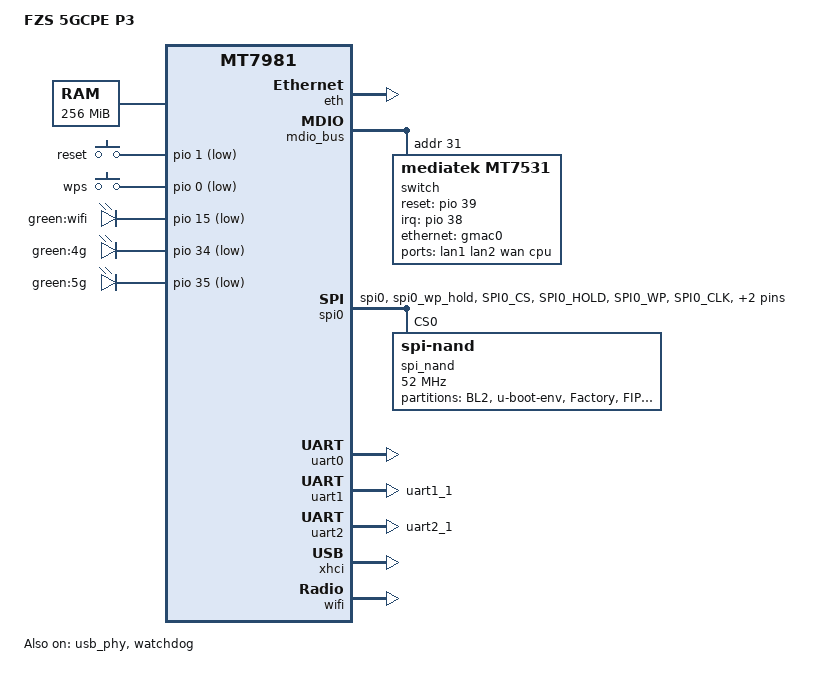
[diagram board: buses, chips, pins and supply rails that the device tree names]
// SPDX-License-Identifier: GPL-2.0-or-later OR MIT

/dts-v1/;
#include <dt-bindings/gpio/gpio.h>
#include <dt-bindings/input/input.h>

#include "mt7981.dtsi"

/ {
	model = "FZS 5GCPE P3";
	compatible = "fzs,5gcpe-p3", "mediatek,mt7981";

	aliases {
		serial0 = &uart0;
		led-boot = &led_wifi;
		led-upgrade = &led_wifi;
	};

	chosen {
		stdout-path = "serial0:115200n8";
	};

	memory {
		reg = <0 0x40000000 0 0x10000000>;
	};

	gpio-keys {
		compatible = "gpio-keys";

		reset {
			label = "reset";
			linux,code = <KEY_RESTART>;
			gpios = <&pio 1 GPIO_ACTIVE_LOW>;
		};

		wps {
			label = "wps";
			linux,code = <KEY_WPS_BUTTON>;
			gpios = <&pio 0 GPIO_ACTIVE_LOW>;
		};
	};

	leds {
		compatible = "gpio-leds";

		led_wifi: wifi {
			label = "green:wifi";
			gpios = <&pio 15 GPIO_ACTIVE_LOW>;
			linux,default-trigger = "phy1tpt";
		};

		4g {
			label = "green:4g";
			gpios = <&pio 34 GPIO_ACTIVE_LOW>;
		};

		5g {
			label = "green:5g";
			gpios = <&pio 35 GPIO_ACTIVE_LOW>;
		};
	};
};

&eth {
	status = "okay";

	gmac0: mac@0 {
		compatible = "mediatek,eth-mac";
		reg = <0>;
		phy-mode = "2500base-x";

		nvmem-cells = <&macaddr_factory_2a>;
		nvmem-cell-names = "mac-address";

		fixed-link {
			speed = <2500>;
			full-duplex;
			pause;
		};
	};
};

&mdio_bus {
	switch: switch@0 {
		compatible = "mediatek,mt7531";
		reg = <31>;
		reset-gpios = <&pio 39 GPIO_ACTIVE_HIGH>;
		interrupt-controller;
		#interrupt-cells = <1>;
		interrupt-parent = <&pio>;
		interrupts = <38 IRQ_TYPE_LEVEL_HIGH>;
	};
};

&spi0 {
	pinctrl-names = "default";
	pinctrl-0 = <&spi0_flash_pins>;
	status = "okay";

	spi_nand@0 {
		compatible = "spi-nand";
		#address-cells = <1>;
		#size-cells = <1>;
		reg = <0>;

		spi-max-frequency = <52000000>;
		spi-tx-bus-width = <4>;
		spi-rx-bus-width = <4>;

		mediatek,nmbm;
		mediatek,bmt-max-ratio = <1>;
		mediatek,bmt-max-reserved-blocks = <64>;

		partitions {
			compatible = "fixed-partitions";
			#address-cells = <1>;
			#size-cells = <1>;

			partition@0 {
				label = "BL2";
				reg = <0x000000 0x0100000>;
				read-only;
			};

			partition@100000 {
				label = "u-boot-env";
				reg = <0x100000 0x0080000>;
			};

			factory: partition@180000 {
				label = "Factory";
				reg = <0x180000 0x0200000>;
				read-only;
			};

			partition@380000 {
				label = "FIP";
				reg = <0x380000 0x0200000>;
				read-only;
			};

			partition@580000 {
				label = "ubi";
				reg = <0x580000 0x7000000>;
			};
		};
	};
};

&switch {
	ports {
		#address-cells = <1>;
		#size-cells = <0>;

		port@1 {
			reg = <1>;
			label = "lan1";
		};

		port@2 {
			reg = <2>;
			label = "lan2";
		};

		port@3 {
			reg = <3>;
			label = "wan";
			nvmem-cells = <&macaddr_factory_24>;
			nvmem-cell-names = "mac-address";
		};

		port@6 {
			reg = <6>;
			label = "cpu";
			ethernet = <&gmac0>;
			phy-mode = "2500base-x";

			fixed-link {
				speed = <2500>;
				full-duplex;
				pause;
			};
		};
	};
};

&pio {
	spi0_flash_pins: spi0-pins {
		mux {
			function = "spi";
			groups = "spi0", "spi0_wp_hold";
		};

		conf-pu {
			pins = "SPI0_CS", "SPI0_HOLD", "SPI0_WP";
			drive-strength = <8>;
			mediatek,pull-up-adv = <0>; /* bias-disable */
		};

		conf-pd {
			pins = "SPI0_CLK", "SPI0_MOSI", "SPI0_MISO";
			drive-strength = <8>;
			mediatek,pull-up-adv = <0>; /* bias-disable */
		};
	};

	uart1_pins: uart1-pins {
		mux {
			function = "uart";
			groups = "uart1_1";
		};
	};

	uart2_pins: uart2-pins {
		mux {
			function = "uart";
			groups = "uart2_1";
		};
	};
};

&uart0 {
	status = "okay";
};

&uart1 {
	pinctrl-names = "default";
	pinctrl-0 = <&uart1_pins>;
	status = "okay";
};

&uart2 {
	pinctrl-names = "default";
	pinctrl-0 = <&uart2_pins>;
	status = "okay";
};

&usb_phy {
	status = "okay";
};

&xhci {
	status = "okay";
};

&watchdog {
	status = "okay";
};

&wifi {
	status = "okay";

	mediatek,mtd-eeprom = <&factory 0x0>;
};

&factory {
	compatible = "nvmem-cells";
	#address-cells = <1>;
	#size-cells = <1>;

	macaddr_factory_24: macaddr@24 {
		reg = <0x24 0x6>;
	};

	macaddr_factory_2a: macaddr@2a {
		reg = <0x2a 0x6>;
	};
};
